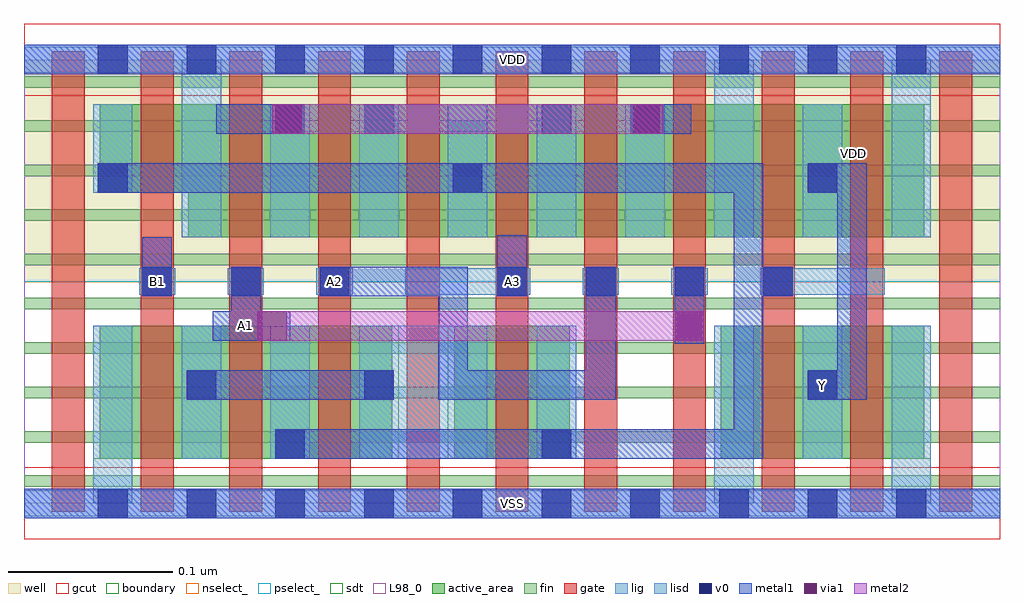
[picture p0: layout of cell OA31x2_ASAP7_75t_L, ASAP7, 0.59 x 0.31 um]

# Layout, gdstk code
import gdstk
lib = gdstk.Library(unit=1e-6, precision=2.5e-10)
def R(c, l, rs):  # rectangles x0, y0, x1, y1
    for r in rs: c.add(gdstk.rectangle(r[:2], r[2:], *l))
def A(c, l, x, y, w, h, nx, ny, dx, dy):  # array of equal rectangles
    R(c, l, [(x+i*dx, y+j*dy, x+i*dx+w, y+j*dy+h) for i in range(nx) for j in range(ny)])
def P(c, l, *ps):  # polygons
    for p in ps: c.add(gdstk.Polygon(p, *l))
well = (1, 0)
fin = (2, 0)
gate = (7, 0)
gcut = (10, 0)
active_area = (11, 0)
nselect_ = (12, 0)
pselect_ = (13, 0)
lig = (16, 0)
lisd = (17, 0)
v0 = (18, 0)
metal1 = (19, 0)
metal2 = (20, 0)
via1 = (21, 0)
sdt = (88, 0)
L98_0 = (98, 0)
boundary = (100, 0)

oa31x2_asap7_75t_l = lib.new_cell('OA31x2_ASAP7_75t_L')
R(oa31x2_asap7_75t_l, well, [(0,0.135,0.594,0.27)])
A(oa31x2_asap7_75t_l, fin, 0, 0.01, 0.594, 0.007, 1, 10, 0, 0.027)
A(oa31x2_asap7_75t_l, gate, 0.017, -0.005, 0.02, 0.28, 11, 1, 0.054, 0)
R(oa31x2_asap7_75t_l, gcut, [(0,-0.022,0.594,0.022), (0,0.248,0.594,0.292)])
R(oa31x2_asap7_75t_l, active_area, [(0.046,0.027,0.224,0.108), (0.262,0.027,0.332,0.108), (0.424,0.027,0.548,0.108)])
P(oa31x2_asap7_75t_l, active_area, [(0.1,0.162),(0.1,0.189),(0.046,0.189),(0.046,0.243),(0.548,0.243),(0.548,0.162)])
R(oa31x2_asap7_75t_l, nselect_, [(0,0,0.594,0.135)])
R(oa31x2_asap7_75t_l, pselect_, [(0,0.135,0.594,0.27)])
A(oa31x2_asap7_75t_l, lig, 0.07, 0.127, 0.022, 0.016, 3, 1, 0.054, 0)
R(oa31x2_asap7_75t_l, lig, [(0,-0.008,0.594,0.008), (0.232,0.127,0.308,0.143), (0.34,0.127,0.362,0.143), (0.394,0.127,0.416,0.143), (0.448,0.127,0.524,0.143), (0,0.262,0.594,0.278)])
A(oa31x2_asap7_75t_l, lisd, 0.15, 0.027, 0.024, 0.081, 3, 1, 0.162, 0)
A(oa31x2_asap7_75t_l, lisd, 0.15, 0.162, 0.024, 0.081, 5, 1, 0.054, 0)
R(oa31x2_asap7_75t_l, lisd, [(0.042,0,0.066,0.108), (0.42,0,0.444,0.108), (0.528,0,0.552,0.108), (0.096,0.027,0.12,0.108), (0.204,0.027,0.282,0.108), (0.096,0.162,0.12,0.27), (0.42,0.162,0.444,0.27), (0.474,0.162,0.498,0.243), (0.528,0.162,0.552,0.27), (0.042,0.189,0.066,0.243)])
A(oa31x2_asap7_75t_l, v0, 0.045, -0.009, 0.018, 0.018, 10, 2, 0.054, 0.27)
A(oa31x2_asap7_75t_l, v0, 0.072, 0.126, 0.018, 0.018, 3, 1, 0.054, 0)
A(oa31x2_asap7_75t_l, v0, 0.288, 0.126, 0.018, 0.018, 4, 1, 0.054, 0)
A(oa31x2_asap7_75t_l, v0, 0.045, 0.189, 0.018, 0.018, 3, 1, 0.216, 0)
R(oa31x2_asap7_75t_l, v0, [(0.153,0.027,0.171,0.045), (0.315,0.027,0.333,0.045), (0.099,0.063,0.117,0.081), (0.207,0.063,0.225,0.081), (0.477,0.063,0.495,0.081), (0.153,0.225,0.171,0.243), (0.207,0.225,0.225,0.243), (0.315,0.225,0.333,0.243), (0.369,0.225,0.387,0.243)])
R(oa31x2_asap7_75t_l, metal1, [(0,-0.009,0.594,0.009), (0.099,0.063,0.225,0.081), (0.396,0.097,0.414,0.144), (0.115,0.099,0.129,0.117), (0.072,0.126,0.09,0.162), (0.288,0.126,0.306,0.163), (0.117,0.225,0.171,0.243), (0.207,0.225,0.333,0.243), (0.369,0.225,0.406,0.243), (0,0.261,0.594,0.279)])
P(oa31x2_asap7_75t_l, metal1, [(0.252,0.063),(0.252,0.126),(0.18,0.126),(0.18,0.144),(0.27,0.144),(0.27,0.081),(0.342,0.081),(0.342,0.144),(0.36,0.144),(0.36,0.063)],
  [(0.126,0.099),(0.126,0.144),(0.144,0.144),(0.144,0.117),(0.162,0.117),(0.162,0.099)],
  [(0.477,0.063),(0.477,0.081),(0.495,0.081),(0.495,0.189),(0.477,0.189),(0.477,0.207),(0.513,0.207),(0.513,0.063)],
  [(0.153,0.027),(0.153,0.045),(0.432,0.045),(0.432,0.189),(0.045,0.189),(0.045,0.207),(0.45,0.207),(0.45,0.144),(0.468,0.144),(0.468,0.126),(0.45,0.126),(0.45,0.027)])
R(oa31x2_asap7_75t_l, metal2, [(0.142,0.099,0.414,0.117), (0.151,0.225,0.389,0.243)])
R(oa31x2_asap7_75t_l, via1, [(0.142,0.099,0.16,0.117), (0.396,0.099,0.414,0.117), (0.151,0.225,0.169,0.243), (0.371,0.225,0.389,0.243)])
A(oa31x2_asap7_75t_l, sdt, 0.042, 0.027, 0.024, 0.081, 6, 1, 0.054, 0)
A(oa31x2_asap7_75t_l, sdt, 0.42, 0.027, 0.024, 0.081, 3, 1, 0.054, 0)
A(oa31x2_asap7_75t_l, sdt, 0.096, 0.162, 0.024, 0.081, 9, 1, 0.054, 0)
R(oa31x2_asap7_75t_l, sdt, [(0.042,0.189,0.066,0.243)])
R(oa31x2_asap7_75t_l, L98_0, [(0,0,0.594,0.27)])
R(oa31x2_asap7_75t_l, boundary, [(0,0,0.594,0.27)])
oa31x2_asap7_75t_l.add(gdstk.Label('Y', (0.486,0.072), layer=19, texttype=251))
oa31x2_asap7_75t_l.add(gdstk.Label('B1', (0.081,0.135), layer=19, texttype=251))
oa31x2_asap7_75t_l.add(gdstk.Label('A3', (0.297,0.135), layer=19, texttype=251))
oa31x2_asap7_75t_l.add(gdstk.Label('A2', (0.189,0.135), layer=19, texttype=251))
oa31x2_asap7_75t_l.add(gdstk.Label('A1', (0.135,0.108), layer=19, texttype=251))
oa31x2_asap7_75t_l.add(gdstk.Label('VSS', (0.297,0), layer=19, texttype=251))
oa31x2_asap7_75t_l.add(gdstk.Label('VDD', (0.297,0.27), layer=19, texttype=251))
oa31x2_asap7_75t_l.add(gdstk.Label('VDD', (0.505,0.213), layer=1, texttype=251))
oa31x2_asap7_75t_l.add(gdstk.Label('VSS', (0.683,0.213), layer=3, texttype=251))

lib.write_gds('OA31x2_ASAP7_75t_L.gds')
